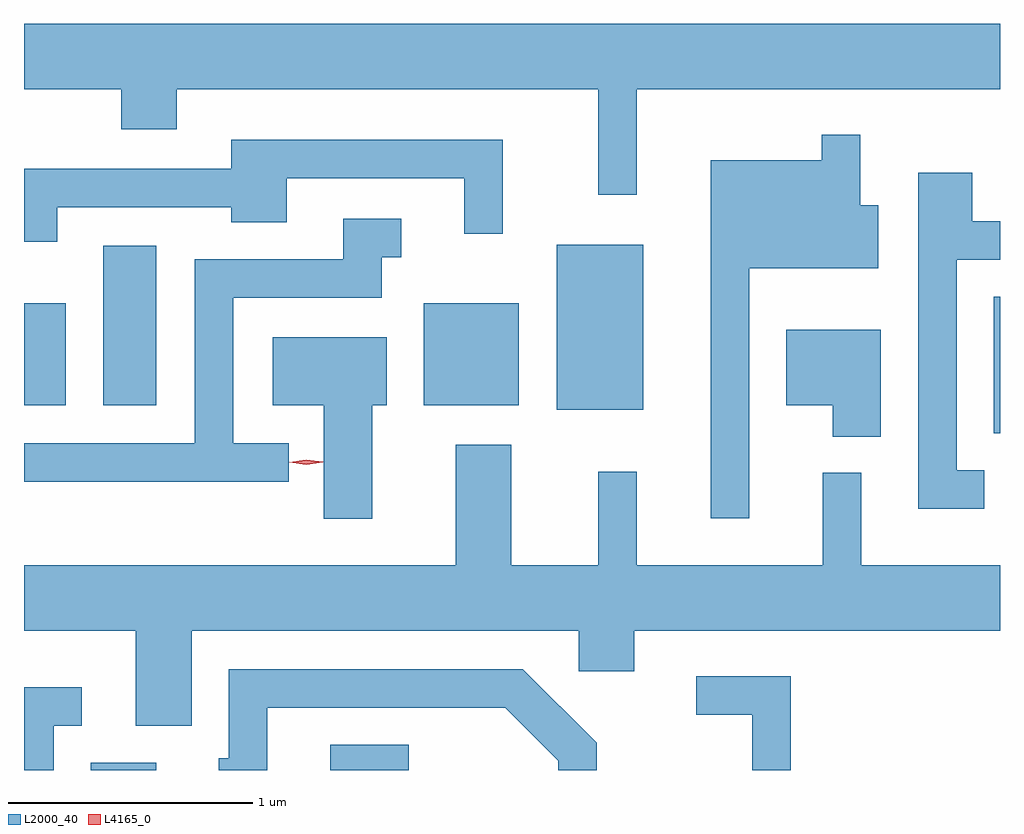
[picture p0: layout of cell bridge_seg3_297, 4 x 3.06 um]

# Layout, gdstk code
import gdstk
lib = gdstk.Library(unit=1e-6, precision=1e-09)
def R(c, l, rs):  # rectangles x0, y0, x1, y1
    for r in rs: c.add(gdstk.rectangle(r[:2], r[2:], *l))
def P(c, l, *ps):  # polygons
    for p in ps: c.add(gdstk.Polygon(p, *l))
L2000_40 = (2000, 40)
L4165_0 = (4165, 0)

bridge_seg3_297 = lib.new_cell('bridge_seg3_297')
R(bridge_seg3_297, L2000_40, [(577.086,1183.164,577.354,1183.194), (578.068,1183.164,578.389,1183.269), (580.786,1184.546,580.812,1185.104), (578.996,1184.641,579.349,1185.319), (576.812,1184.661,576.984,1185.079), (577.136,1184.661,577.354,1185.314), (578.451,1184.661,578.839,1185.079)])
P(bridge_seg3_297, L2000_40, [(576.812,1185.956),(577.211,1185.956),(577.211,1185.791),(577.439,1185.791),(577.439,1185.956),(579.166,1185.956),(579.166,1185.523),(579.324,1185.523),(579.324,1185.956),(580.812,1185.956),(580.812,1186.224),(576.812,1186.224)],
  [(579.784,1185.221),(580.314,1185.221),(580.314,1185.479),(580.239,1185.479),(580.239,1185.768),(580.081,1185.768),(580.081,1185.664),(579.626,1185.664),(579.626,1184.198),(579.784,1184.198)],
  [(576.949,1185.471),(577.661,1185.471),(577.661,1185.411),(577.889,1185.411),(577.889,1185.591),(578.616,1185.591),(578.616,1185.363),(578.774,1185.363),(578.774,1185.749),(577.661,1185.749),(577.661,1185.629),(576.812,1185.629),(576.812,1185.331),(576.949,1185.331)],
  [(580.748,1184.394),(580.634,1184.394),(580.634,1185.256),(580.812,1185.256),(580.812,1185.414),(580.699,1185.414),(580.699,1185.614),(580.476,1185.614),(580.476,1184.236),(580.748,1184.236)],
  [(577.898,1184.504),(577.669,1184.504),(577.669,1185.101),(578.279,1185.101),(578.279,1185.266),(578.358,1185.266),(578.358,1185.424),(578.121,1185.424),(578.121,1185.259),(577.511,1185.259),(577.511,1184.504),(576.812,1184.504),(576.812,1184.346),(577.898,1184.346)],
  [(580.324,1184.969),(579.936,1184.969),(579.936,1184.661),(580.126,1184.661),(580.126,1184.531),(580.324,1184.531)],
  [(578.239,1184.661),(578.299,1184.661),(578.299,1184.939),(577.831,1184.939),(577.831,1184.661),(578.041,1184.661),(578.041,1184.196),(578.239,1184.196)],
  [(577.499,1183.736),(579.086,1183.736),(579.086,1183.571),(579.314,1183.571),(579.314,1183.736),(580.812,1183.736),(580.812,1184.004),(580.244,1184.004),(580.244,1184.383),(580.086,1184.383),(580.086,1184.004),(579.324,1184.004),(579.324,1184.388),(579.166,1184.388),(579.166,1184.004),(578.809,1184.004),(578.809,1184.499),(578.581,1184.499),(578.581,1184.004),(576.812,1184.004),(576.812,1183.736),(577.271,1183.736),(577.271,1183.346),(577.499,1183.346)],
  [(577.809,1183.421),(578.784,1183.421),(579.001,1183.204),(579.001,1183.164),(579.159,1183.164),(579.159,1183.277),(578.857,1183.579),(577.651,1183.579),(577.651,1183.214),(577.611,1183.214),(577.611,1183.164),(577.809,1183.164)],
  [(579.954,1183.549),(579.568,1183.549),(579.568,1183.391),(579.796,1183.391),(579.796,1183.164),(579.954,1183.164)],
  [(576.934,1183.346),(577.048,1183.346),(577.048,1183.504),(576.812,1183.504),(576.812,1183.164),(576.934,1183.164)])
P(bridge_seg3_297, L4165_0, [(577.968,1184.417),(577.899,1184.426),(577.899,1184.427),(577.899,1184.427),(577.968,1184.437),(578.037,1184.428),(578.038,1184.428),(578.037,1184.427)])

lib.write_gds('bridge_seg3_297.gds')
